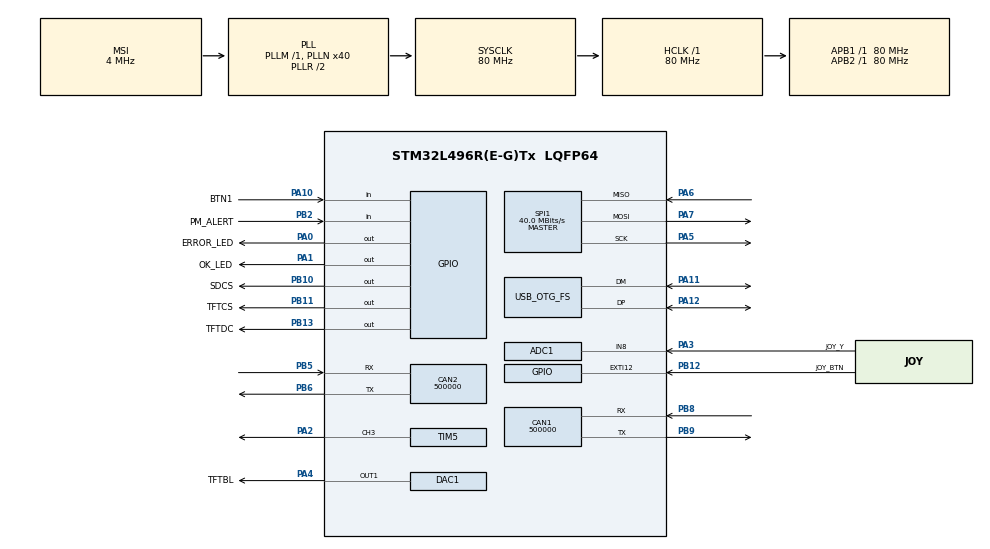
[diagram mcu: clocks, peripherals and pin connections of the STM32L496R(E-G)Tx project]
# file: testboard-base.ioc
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ADC1.Channel-0\#ChannelRegularConversion=ADC_CHANNEL_8
ADC1.ContinuousConvMode=DISABLE
ADC1.EOCSelection=ADC_EOC_SEQ_CONV
ADC1.ExternalTrigConv=ADC_SOFTWARE_START
ADC1.NbrOfConversionFlag=1
ADC1.OffsetNumber-0\#ChannelRegularConversion=ADC_OFFSET_NONE
ADC1.Rank-0\#ChannelRegularConversion=1
ADC1.Resolution=ADC_RESOLUTION_8B
ADC1.SamplingTime-0\#ChannelRegularConversion=ADC_SAMPLETIME_2CYCLES_5
ADC1.master=1
CAN1.BS1=CAN_BS1_8TQ
CAN1.BS2=CAN_BS2_1TQ
CAN1.CalculateBaudRate=500000
CAN1.CalculateTimeBit=2000
CAN1.CalculateTimeQuantum=200.0
CAN2.BS1=CAN_BS1_8TQ
CAN2.BS2=CAN_BS2_1TQ
CAN2.CalculateBaudRate=500000
CAN2.CalculateTimeBit=2000
CAN2.CalculateTimeQuantum=200.0
Dma.Request0=SPI1_TX
Dma.SPI1_TX.0.Direction=DMA_MEMORY_TO_PERIPH
Dma.SPI1_TX.0.Instance=DMA1_Channel3
Dma.SPI1_TX.0.MemDataAlignment=DMA_MDATAALIGN_BYTE
Dma.SPI1_TX.0.MemInc=DMA_MINC_DISABLE
Dma.SPI1_TX.0.Mode=DMA_NORMAL
Dma.SPI1_TX.0.PeriphDataAlignment=DMA_PDATAALIGN_BYTE
Dma.SPI1_TX.0.PeriphInc=DMA_PINC_DISABLE
Dma.SPI1_TX.0.Priority=DMA_PRIORITY_LOW
FREERTOS.Tasks01=defaultTask,24,128,StartDefaultTask,Default,NULL,Dynamic,NULL,NULL
FREERTOS.configTIMER_TASK_PRIORITY=32
Mcu.Family=STM32L4
Mcu.Name=STM32L496R(E-G)Tx
Mcu.Package=LQFP64
NVIC.DMA1_Channel3_IRQn=true\:5\:0\:false\:false\:true\:true\:false\:true\:true
NVIC.EXTI15_10_IRQn=true\:5\:0\:false\:false\:true\:true\:true\:true\:true
NVIC.PriorityGroup=NVIC_PRIORITYGROUP_4
NVIC.TIM1_TRG_COM_TIM17_IRQn=true\:15\:0\:false\:false\:true\:false\:false\:true\:true
NVIC.TIM4_IRQn=true\:5\:0\:false\:false\:true\:true\:true\:true\:true
NVIC.TIM6_DAC_IRQn=true\:5\:0\:false\:false\:true\:true\:true\:true\:true
NVIC.TimeBase=TIM1_TRG_COM_TIM17_IRQn
NVIC.TimeBaseIP=TIM17
PA0.GPIO_Label=ERROR_LED
PA0.Signal=GPIO_Output
PA1.GPIO_Label=OK_LED
PA1.Signal=GPIO_Output
PA10.GPIO_Label=BTN1
PA10.Signal=GPIO_Input
PA11.Mode=Device_Only
PA11.Signal=USB_OTG_FS_DM
PA12.Mode=Device_Only
PA12.Signal=USB_OTG_FS_DP
PA13\ (JTMS/SWDIO).Mode=Trace_Asynchronous_SW
PA13\ (JTMS/SWDIO).Signal=SYS_JTMS-SWDIO
PA14\ (JTCK/SWCLK).Mode=Trace_Asynchronous_SW
PA14\ (JTCK/SWCLK).Signal=SYS_JTCK-SWCLK
PA2.Signal=S_TIM5_CH3
PA3.GPIO_Label=JOY_Y
PA3.Signal=ADCx_IN8
PA4.GPIO_Label=TFTBL
PA4.Signal=COMP_DAC11_group
PA5.Mode=Full_Duplex_Master
PA5.Signal=SPI1_SCK
PA6.Mode=Full_Duplex_Master
PA6.Signal=SPI1_MISO
PA7.Mode=Full_Duplex_Master
PA7.Signal=SPI1_MOSI
PB10.GPIO_Label=SDCS
PB10.Signal=GPIO_Output
PB11.GPIO_Label=TFTCS
PB11.Signal=GPIO_Output
PB12.GPIO_Label=JOY_BTN
PB12.GPIO_ModeDefaultEXTI=GPIO_MODE_IT_FALLING
PB12.GPIO_PuPd=GPIO_PULLUP
PB12.Signal=GPXTI12
PB13.GPIO_Label=TFTDC
PB13.Signal=GPIO_Output
PB2.GPIO_Label=PM_ALERT
PB2.Signal=GPIO_Input
PB3\ (JTDO/TRACESWO).Mode=Trace_Asynchronous_SW
PB3\ (JTDO/TRACESWO).Signal=SYS_JTDO-SWO
PB5.Mode=CAN_Activate
PB5.Signal=CAN2_RX
PB6.Mode=CAN_Activate
PB6.Signal=CAN2_TX
PB8.Mode=CAN_Activate
PB8.Signal=CAN1_RX
PB9.Mode=CAN_Activate
PB9.Signal=CAN1_TX
PH0-OSC_IN\ (PH0).Mode=HSE-External-Oscillator
PH0-OSC_IN\ (PH0).Signal=RCC_OSC_IN
PH1-OSC_OUT\ (PH1).Mode=HSE-External-Oscillator
PH1-OSC_OUT\ (PH1).Signal=RCC_OSC_OUT
ProjectManager.HeapSize=0x200
ProjectManager.StackSize=0x400
ProjectManager.TargetToolchain=Makefile
RCC.ADCFreq_Value=48000000
RCC.AHBFreq_Value=80000000
RCC.APB1Freq_Value=80000000
RCC.APB1TimFreq_Value=80000000
RCC.APB2Freq_Value=80000000
RCC.APB2TimFreq_Value=80000000
RCC.CortexFreq_Value=80000000
RCC.HCLKFreq_Value=80000000
RCC.HSE_VALUE=16000000
RCC.HSI48_VALUE=48000000
RCC.HSI_VALUE=16000000
RCC.LSE_VALUE=32768
RCC.MSI_VALUE=4000000
RCC.PLLN=40
RCC.PLLSAI1N=24
RCC.SYSCLKFreq_VALUE=80000000
RCC.SYSCLKSource=RCC_SYSCLKSOURCE_PLLCLK
RCC.USBFreq_Value=48000000
RCC.VCOOutputFreq_Value=160000000
SH.ADCx_IN8.0=ADC1_IN8,IN8-Single-Ended
SH.COMP_DAC11_group.0=DAC1_OUT1,DAC_OUT1
SH.S_TIM5_CH3.0=TIM5_CH3,PWM Generation3 CH3
SPI1.BaudRatePrescaler=SPI_BAUDRATEPRESCALER_2
SPI1.CLKPhase=SPI_PHASE_2EDGE
SPI1.CLKPolarity=SPI_POLARITY_HIGH
SPI1.CalculateBaudRate=40.0 MBits/s
SPI1.DataSize=SPI_DATASIZE_8BIT
SPI1.Direction=SPI_DIRECTION_2LINES
SPI1.FirstBit=SPI_FIRSTBIT_MSB
SPI1.Mode=SPI_MODE_MASTER
SPI1.VirtualType=VM_MASTER
TIM3.Channel-Output\ Compare1\ No\ Output=TIM_CHANNEL_1
TIM3.Period=65535
TIM3.Prescaler=80-1
TIM4.Channel-Output\ Compare1\ No\ Output=TIM_CHANNEL_1
TIM4.Period=50000
TIM4.Prescaler=80-1
TIM4.Pulse-Output\ Compare1\ No\ Output=0
TIM5.Channel-PWM\ Generation3\ CH3=TIM_CHANNEL_3
TIM5.Period=350
TIM6.Period=1000
TIM6.Prescaler=40000-1
USB_OTG_FS.VirtualMode=Device_Only
VP_FATFS_VS_Generic.Mode=User_defined
VP_FREERTOS_VS_CMSIS_V2.Mode=CMSIS_V2
VP_SYS_VS_tim17.Mode=TIM17
VP_TIM3_VS_no_output1.Mode=Output Compare1 No Output
VP_TIM4_VS_no_output1.Mode=Output Compare1 No Output
VP_TIM6_VS_ClockSourceINT.Mode=Enable_Timer
board=custom

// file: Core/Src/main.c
/* USER CODE BEGIN Header */
/**
  ******************************************************************************
  * @file           : main.c
  * @brief          : Main program body
  ******************************************************************************
  * @attention
  *
  * Copyright (c) 2023 STMicroelectronics.
  * All rights reserved.
  *
  * This software is licensed under terms that can be found in the LICENSE file
  * in the root directory of this software component.
  * If no LICENSE file comes with this software, it is provided AS-IS.
  *
  *
  * User Modifications:
  *   - CPP_UserSetup() is called from main()
  *   - Defines for FATFS devices in main.h
  *   - Initialize ADC2 in MX_ADC1_Init()
  *   - Call debounce function from timer interrupt
  *
  *
  ******************************************************************************
  */
/* USER CODE END Header */
#include "main.h"
#include "cmsis_os.h"
#include "fatfs.h"

/* USER CODE BEGIN PM */
extern uint16_t Timer1, Timer2;
/* USER CODE END PM */

ADC_HandleTypeDef hadc1;

CAN_HandleTypeDef hcan1;
CAN_HandleTypeDef hcan2;

DAC_HandleTypeDef hdac1;

SPI_HandleTypeDef hspi1;
DMA_HandleTypeDef hdma_spi1_tx;

TIM_HandleTypeDef htim3;
TIM_HandleTypeDef htim4;
TIM_HandleTypeDef htim5;
TIM_HandleTypeDef htim6;

PCD_HandleTypeDef hpcd_USB_OTG_FS;

/* Definitions for defaultTask */
osThreadId_t defaultTaskHandle;
const osThreadAttr_t defaultTask_attributes = {
  .name = "defaultTask",
  .stack_size = 128 * 4,
  .priority = (osPriority_t) osPriorityNormal,
};
/* USER CODE BEGIN PV */
ADC_HandleTypeDef hadc2;
uint32_t utick = 0;
/* USER CODE END PV */

void SystemClock_Config(void);
void PeriphCommonClock_Config(void);
static void MX_GPIO_Init(void);
static void MX_DMA_Init(void);
static void MX_CAN1_Init(void);
static void MX_CAN2_Init(void);
static void MX_SPI1_Init(void);
static void MX_USB_OTG_FS_PCD_Init(void);
static void MX_TIM3_Init(void);
static void MX_ADC1_Init(void);
static void MX_DAC1_Init(void);
static void MX_TIM5_Init(void);
static void MX_TIM4_Init(void);
static void MX_TIM6_Init(void);
void StartDefaultTask(void *argument);

/* USER CODE BEGIN PFP */
void CPP_UserSetup(void);
void DebounceCallback(void);
/* USER CODE END PFP */

int main(void)
{

  /* MCU Configuration--------------------------------------------------------*/

  /* Reset of all peripherals, Initializes the Flash interface and the Systick. */
  HAL_Init();

  /* Configure the system clock */
  SystemClock_Config();

/* Configure the peripherals common clocks */
  PeriphCommonClock_Config();

  /* USER CODE BEGIN SysInit */

  // Set timebase interrupt to a high priority to enable HAL_Delay() during initialization
  HAL_NVIC_SetPriority(TIM1_TRG_COM_TIM17_IRQn, 1U, 0U);
  __enable_irq();
  __set_BASEPRI(6);

  /* USER CODE END SysInit */

  /* Initialize all configured peripherals */
  MX_GPIO_Init();
  MX_DMA_Init();
  MX_CAN1_Init();
  MX_CAN2_Init();
  MX_SPI1_Init();
  MX_USB_OTG_FS_PCD_Init();
  MX_TIM3_Init();
  MX_ADC1_Init();
  MX_DAC1_Init();
  MX_TIM5_Init();
  MX_TIM4_Init();
  MX_FATFS_Init();
  MX_TIM6_Init();
  /* USER CODE BEGIN 2 */
  CPP_UserSetup();

  // Change timebase priority back to normal
  HAL_NVIC_SetPriority(TIM1_TRG_COM_TIM17_IRQn, 15U, 0U);
  /* USER CODE END 2 */

  /* Init scheduler */
  osKernelInitialize();

  /* Create the thread(s) */
  /* creation of defaultTask */
  defaultTaskHandle = osThreadNew(StartDefaultTask, NULL, &defaultTask_attributes);

  /* Start scheduler */
  osKernelStart();

  /* We should never get here as control is now taken by the scheduler */
  /* Infinite loop */
  while (1)
  {

  }
}

void SystemClock_Config(void)
{
  RCC_OscInitTypeDef RCC_OscInitStruct = {0};
  RCC_ClkInitTypeDef RCC_ClkInitStruct = {0};

  /** Configure the main internal regulator output voltage
  */
  if (HAL_PWREx_ControlVoltageScaling(PWR_REGULATOR_VOLTAGE_SCALE1) != HAL_OK)
  {
    Error_Handler();
  }

  /** Initializes the RCC Oscillators according to the specified parameters
  * in the RCC_OscInitTypeDef structure.
  */
  RCC_OscInitStruct.OscillatorType = RCC_OSCILLATORTYPE_LSE|RCC_OSCILLATORTYPE_MSI;
  RCC_OscInitStruct.LSEState = RCC_LSE_OFF;
  RCC_OscInitStruct.MSIState = RCC_MSI_ON;
  RCC_OscInitStruct.MSICalibrationValue = 0;
  RCC_OscInitStruct.MSIClockRange = RCC_MSIRANGE_6;
  RCC_OscInitStruct.PLL.PLLState = RCC_PLL_ON;
  RCC_OscInitStruct.PLL.PLLSource = RCC_PLLSOURCE_MSI;
  RCC_OscInitStruct.PLL.PLLM = 1;
  RCC_OscInitStruct.PLL.PLLN = 40;
  RCC_OscInitStruct.PLL.PLLP = RCC_PLLP_DIV2;
  RCC_OscInitStruct.PLL.PLLQ = RCC_PLLQ_DIV2;
  RCC_OscInitStruct.PLL.PLLR = RCC_PLLR_DIV2;
  if (HAL_RCC_OscConfig(&RCC_OscInitStruct) != HAL_OK)
  {
    Error_Handler();
  }

  /** Initializes the CPU, AHB and APB buses clocks
  */
  RCC_ClkInitStruct.ClockType = RCC_CLOCKTYPE_HCLK|RCC_CLOCKTYPE_SYSCLK
                              |RCC_CLOCKTYPE_PCLK1|RCC_CLOCKTYPE_PCLK2;
  RCC_ClkInitStruct.SYSCLKSource = RCC_SYSCLKSOURCE_PLLCLK;
  RCC_ClkInitStruct.AHBCLKDivider = RCC_SYSCLK_DIV1;
  RCC_ClkInitStruct.APB1CLKDivider = RCC_HCLK_DIV1;
  RCC_ClkInitStruct.APB2CLKDivider = RCC_HCLK_DIV1;

  if (HAL_RCC_ClockConfig(&RCC_ClkInitStruct, FLASH_LATENCY_4) != HAL_OK)
  {
    Error_Handler();
  }

  /** Enable MSI Auto calibration
  */
  HAL_RCCEx_EnableMSIPLLMode();
}

void PeriphCommonClock_Config(void)
{
  RCC_PeriphCLKInitTypeDef PeriphClkInit = {0};

  /** Initializes the peripherals clock
  */
  PeriphClkInit.PeriphClockSelection = RCC_PERIPHCLK_USB|RCC_PERIPHCLK_ADC;
  PeriphClkInit.AdcClockSelection = RCC_ADCCLKSOURCE_PLLSAI1;
  PeriphClkInit.UsbClockSelection = RCC_USBCLKSOURCE_PLLSAI1;
  PeriphClkInit.PLLSAI1.PLLSAI1Source = RCC_PLLSOURCE_MSI;
  PeriphClkInit.PLLSAI1.PLLSAI1M = 1;
  PeriphClkInit.PLLSAI1.PLLSAI1N = 24;
  PeriphClkInit.PLLSAI1.PLLSAI1P = RCC_PLLP_DIV2;
  PeriphClkInit.PLLSAI1.PLLSAI1Q = RCC_PLLQ_DIV2;
  PeriphClkInit.PLLSAI1.PLLSAI1R = RCC_PLLR_DIV2;
  PeriphClkInit.PLLSAI1.PLLSAI1ClockOut = RCC_PLLSAI1_48M2CLK|RCC_PLLSAI1_ADC1CLK;
  if (HAL_RCCEx_PeriphCLKConfig(&PeriphClkInit) != HAL_OK)
  {
    Error_Handler();
  }
}

static void MX_ADC1_Init(void)
{

  ADC_MultiModeTypeDef multimode = {0};
  ADC_ChannelConfTypeDef sConfig = {0};

  /** Common config
  */
  hadc1.Instance = ADC1;
  hadc1.Init.ClockPrescaler = ADC_CLOCK_ASYNC_DIV1;
  hadc1.Init.Resolution = ADC_RESOLUTION_8B;
  hadc1.Init.DataAlign = ADC_DATAALIGN_RIGHT;
  hadc1.Init.ScanConvMode = ADC_SCAN_DISABLE;
  hadc1.Init.EOCSelection = ADC_EOC_SEQ_CONV;
  hadc1.Init.LowPowerAutoWait = DISABLE;
  hadc1.Init.ContinuousConvMode = DISABLE;
  hadc1.Init.NbrOfConversion = 1;
  hadc1.Init.DiscontinuousConvMode = DISABLE;
  hadc1.Init.ExternalTrigConv = ADC_SOFTWARE_START;
  hadc1.Init.ExternalTrigConvEdge = ADC_EXTERNALTRIGCONVEDGE_NONE;
  hadc1.Init.DMAContinuousRequests = DISABLE;
  hadc1.Init.Overrun = ADC_OVR_DATA_PRESERVED;
  hadc1.Init.OversamplingMode = DISABLE;
  if (HAL_ADC_Init(&hadc1) != HAL_OK)
  {
    Error_Handler();
  }

  /** Configure the ADC multi-mode
  */
  multimode.Mode = ADC_MODE_INDEPENDENT;
  if (HAL_ADCEx_MultiModeConfigChannel(&hadc1, &multimode) != HAL_OK)
  {
    Error_Handler();
  }

  /** Configure Regular Channel
  */
  sConfig.Channel = ADC_CHANNEL_8;
  sConfig.Rank = ADC_REGULAR_RANK_1;
  sConfig.SamplingTime = ADC_SAMPLETIME_2CYCLES_5;
  sConfig.SingleDiff = ADC_SINGLE_ENDED;
  sConfig.OffsetNumber = ADC_OFFSET_NONE;
  sConfig.Offset = 0;
  if (HAL_ADC_ConfigChannel(&hadc1, &sConfig) != HAL_OK)
  {
    Error_Handler();
  }
  /* USER CODE BEGIN ADC1_Init 2 */
  // Enable second ADC
  hadc2.Instance = ADC2;
  hadc2.Init.ClockPrescaler = ADC_CLOCK_ASYNC_DIV1;
  hadc2.Init.Resolution = ADC_RESOLUTION_8B;
  hadc2.Init.DataAlign = ADC_DATAALIGN_RIGHT;
  hadc2.Init.ScanConvMode = ADC_SCAN_DISABLE;
  hadc2.Init.EOCSelection = ADC_EOC_SINGLE_CONV;
  hadc2.Init.LowPowerAutoWait = DISABLE;
  hadc2.Init.ContinuousConvMode = DISABLE;
  hadc2.Init.NbrOfConversion = 1;
  hadc2.Init.DiscontinuousConvMode = DISABLE;
  hadc2.Init.ExternalTrigConv = ADC_SOFTWARE_START;
  hadc2.Init.ExternalTrigConvEdge = ADC_EXTERNALTRIGCONVEDGE_NONE;
  hadc2.Init.DMAContinuousRequests = DISABLE;
  hadc2.Init.Overrun = ADC_OVR_DATA_PRESERVED;
  hadc2.Init.OversamplingMode = DISABLE;
  if (HAL_ADC_Init(&hadc2) != HAL_OK)
  {
    Error_Handler();
  }

  /** Configure Regular Channel
  */
  sConfig.Channel = ADC_CHANNEL_7;
  sConfig.Rank = ADC_REGULAR_RANK_1;
  sConfig.SamplingTime = ADC_SAMPLETIME_2CYCLES_5;
  sConfig.SingleDiff = ADC_SINGLE_ENDED;
  sConfig.OffsetNumber = ADC_OFFSET_NONE;
  sConfig.Offset = 0;
  if (HAL_ADC_ConfigChannel(&hadc2, &sConfig) != HAL_OK)
  {
    Error_Handler();
  }
  /* USER CODE END ADC1_Init 2 */

}

static void MX_CAN1_Init(void)
{

  hcan1.Instance = CAN1;
  hcan1.Init.Prescaler = 16;
  hcan1.Init.Mode = CAN_MODE_NORMAL;
  hcan1.Init.SyncJumpWidth = CAN_SJW_1TQ;
  hcan1.Init.TimeSeg1 = CAN_BS1_8TQ;
  hcan1.Init.TimeSeg2 = CAN_BS2_1TQ;
  hcan1.Init.TimeTriggeredMode = DISABLE;
  hcan1.Init.AutoBusOff = DISABLE;
  hcan1.Init.AutoWakeUp = DISABLE;
  hcan1.Init.AutoRetransmission = DISABLE;
  hcan1.Init.ReceiveFifoLocked = DISABLE;
  hcan1.Init.TransmitFifoPriority = DISABLE;
  if (HAL_CAN_Init(&hcan1) != HAL_OK)
  {
    Error_Handler();
  }

}

static void MX_CAN2_Init(void)
{

  hcan2.Instance = CAN2;
  hcan2.Init.Prescaler = 16;
  hcan2.Init.Mode = CAN_MODE_NORMAL;
  hcan2.Init.SyncJumpWidth = CAN_SJW_1TQ;
  hcan2.Init.TimeSeg1 = CAN_BS1_8TQ;
  hcan2.Init.TimeSeg2 = CAN_BS2_1TQ;
  hcan2.Init.TimeTriggeredMode = DISABLE;
  hcan2.Init.AutoBusOff = DISABLE;
  hcan2.Init.AutoWakeUp = DISABLE;
  hcan2.Init.AutoRetransmission = DISABLE;
  hcan2.Init.ReceiveFifoLocked = DISABLE;
  hcan2.Init.TransmitFifoPriority = DISABLE;
  if (HAL_CAN_Init(&hcan2) != HAL_OK)
  {
    Error_Handler();
  }

}

static void MX_DAC1_Init(void)
{

  DAC_ChannelConfTypeDef sConfig = {0};

  /** DAC Initialization
  */
  hdac1.Instance = DAC1;
  if (HAL_DAC_Init(&hdac1) != HAL_OK)
  {
    Error_Handler();
  }

  /** DAC channel OUT1 config
  */
  sConfig.DAC_SampleAndHold = DAC_SAMPLEANDHOLD_DISABLE;
  sConfig.DAC_Trigger = DAC_TRIGGER_NONE;
  sConfig.DAC_OutputBuffer = DAC_OUTPUTBUFFER_ENABLE;
  sConfig.DAC_ConnectOnChipPeripheral = DAC_CHIPCONNECT_DISABLE;
  sConfig.DAC_UserTrimming = DAC_TRIMMING_FACTORY;
  if (HAL_DAC_ConfigChannel(&hdac1, &sConfig, DAC_CHANNEL_1) != HAL_OK)
  {
    Error_Handler();
  }

}

static void MX_SPI1_Init(void)
{

  /* SPI1 parameter configuration*/
  hspi1.Instance = SPI1;
  hspi1.Init.Mode = SPI_MODE_MASTER;
  hspi1.Init.Direction = SPI_DIRECTION_2LINES;
  hspi1.Init.DataSize = SPI_DATASIZE_8BIT;
  hspi1.Init.CLKPolarity = SPI_POLARITY_HIGH;
  hspi1.Init.CLKPhase = SPI_PHASE_2EDGE;
  hspi1.Init.NSS = SPI_NSS_SOFT;
  hspi1.Init.BaudRatePrescaler = SPI_BAUDRATEPRESCALER_2;
  hspi1.Init.FirstBit = SPI_FIRSTBIT_MSB;
  hspi1.Init.TIMode = SPI_TIMODE_DISABLE;
  hspi1.Init.CRCCalculation = SPI_CRCCALCULATION_DISABLE;
  hspi1.Init.CRCPolynomial = 7;
  hspi1.Init.CRCLength = SPI_CRC_LENGTH_DATASIZE;
  hspi1.Init.NSSPMode = SPI_NSS_PULSE_DISABLE;
  if (HAL_SPI_Init(&hspi1) != HAL_OK)
  {
    Error_Handler();
  }
  /* USER CODE BEGIN SPI1_Init 2 */
  __HAL_LINKDMA(&hspi1, hdmatx, hdma_spi1_tx);
  /* USER CODE END SPI1_Init 2 */

}

static void MX_TIM3_Init(void)
{

  TIM_MasterConfigTypeDef sMasterConfig = {0};
  TIM_OC_InitTypeDef sConfigOC = {0};

  htim3.Instance = TIM3;
  htim3.Init.Prescaler = 80-1;
  htim3.Init.CounterMode = TIM_COUNTERMODE_UP;
  htim3.Init.Period = 65535;
  htim3.Init.ClockDivision = TIM_CLOCKDIVISION_DIV1;
  htim3.Init.AutoReloadPreload = TIM_AUTORELOAD_PRELOAD_DISABLE;
  if (HAL_TIM_OC_Init(&htim3) != HAL_OK)
  {
    Error_Handler();
  }
  sMasterConfig.MasterOutputTrigger = TIM_TRGO_RESET;
  sMasterConfig.MasterSlaveMode = TIM_MASTERSLAVEMODE_DISABLE;
  if (HAL_TIMEx_MasterConfigSynchronization(&htim3, &sMasterConfig) != HAL_OK)
  {
    Error_Handler();
  }
  sConfigOC.OCMode = TIM_OCMODE_TIMING;
  sConfigOC.Pulse = 0;
  sConfigOC.OCPolarity = TIM_OCPOLARITY_HIGH;
  sConfigOC.OCFastMode = TIM_OCFAST_DISABLE;
  if (HAL_TIM_OC_ConfigChannel(&htim3, &sConfigOC, TIM_CHANNEL_1) != HAL_OK)
  {
    Error_Handler();
  }

}

static void MX_TIM4_Init(void)
{

  TIM_MasterConfigTypeDef sMasterConfig = {0};
  TIM_OC_InitTypeDef sConfigOC = {0};

  htim4.Instance = TIM4;
  htim4.Init.Prescaler = 80-1;
  htim4.Init.CounterMode = TIM_COUNTERMODE_UP;
  htim4.Init.Period = 50000;
  htim4.Init.ClockDivision = TIM_CLOCKDIVISION_DIV1;
  htim4.Init.AutoReloadPreload = TIM_AUTORELOAD_PRELOAD_DISABLE;
  if (HAL_TIM_OC_Init(&htim4) != HAL_OK)
  {
    Error_Handler();
  }
  sMasterConfig.MasterOutputTrigger = TIM_TRGO_RESET;
  sMasterConfig.MasterSlaveMode = TIM_MASTERSLAVEMODE_DISABLE;
  if (HAL_TIMEx_MasterConfigSynchronization(&htim4, &sMasterConfig) != HAL_OK)
  {
    Error_Handler();
  }
  sConfigOC.OCMode = TIM_OCMODE_TIMING;
  sConfigOC.Pulse = 0;
  sConfigOC.OCPolarity = TIM_OCPOLARITY_HIGH;
  sConfigOC.OCFastMode = TIM_OCFAST_DISABLE;
  if (HAL_TIM_OC_ConfigChannel(&htim4, &sConfigOC, TIM_CHANNEL_1) != HAL_OK)
  {
    Error_Handler();
  }

}

static void MX_TIM5_Init(void)
{

  TIM_MasterConfigTypeDef sMasterConfig = {0};
  TIM_OC_InitTypeDef sConfigOC = {0};

  htim5.Instance = TIM5;
  htim5.Init.Prescaler = 0;
  htim5.Init.CounterMode = TIM_COUNTERMODE_UP;
  htim5.Init.Period = 350;
  htim5.Init.ClockDivision = TIM_CLOCKDIVISION_DIV1;
  htim5.Init.AutoReloadPreload = TIM_AUTORELOAD_PRELOAD_DISABLE;
  if (HAL_TIM_PWM_Init(&htim5) != HAL_OK)
  {
    Error_Handler();
  }
  sMasterConfig.MasterOutputTrigger = TIM_TRGO_RESET;
  sMasterConfig.MasterSlaveMode = TIM_MASTERSLAVEMODE_DISABLE;
  if (HAL_TIMEx_MasterConfigSynchronization(&htim5, &sMasterConfig) != HAL_OK)
  {
    Error_Handler();
  }
  sConfigOC.OCMode = TIM_OCMODE_PWM1;
  sConfigOC.Pulse = 0;
  sConfigOC.OCPolarity = TIM_OCPOLARITY_HIGH;
  sConfigOC.OCFastMode = TIM_OCFAST_DISABLE;
  if (HAL_TIM_PWM_ConfigChannel(&htim5, &sConfigOC, TIM_CHANNEL_3) != HAL_OK)
  {
    Error_Handler();
  }
  HAL_TIM_MspPostInit(&htim5);

}

static void MX_TIM6_Init(void)
{

  TIM_MasterConfigTypeDef sMasterConfig = {0};

  htim6.Instance = TIM6;
  htim6.Init.Prescaler = 40000-1;
  htim6.Init.CounterMode = TIM_COUNTERMODE_UP;
  htim6.Init.Period = 1000;
  htim6.Init.AutoReloadPreload = TIM_AUTORELOAD_PRELOAD_DISABLE;
  if (HAL_TIM_Base_Init(&htim6) != HAL_OK)
  {
    Error_Handler();
  }
  sMasterConfig.MasterOutputTrigger = TIM_TRGO_RESET;
  sMasterConfig.MasterSlaveMode = TIM_MASTERSLAVEMODE_DISABLE;
  if (HAL_TIMEx_MasterConfigSynchronization(&htim6, &sMasterConfig) != HAL_OK)
  {
    Error_Handler();
  }

}

static void MX_USB_OTG_FS_PCD_Init(void)
{

  hpcd_USB_OTG_FS.Instance = USB_OTG_FS;
  hpcd_USB_OTG_FS.Init.dev_endpoints = 6;
  hpcd_USB_OTG_FS.Init.speed = PCD_SPEED_FULL;
  hpcd_USB_OTG_FS.Init.phy_itface = PCD_PHY_EMBEDDED;
  hpcd_USB_OTG_FS.Init.Sof_enable = DISABLE;
  hpcd_USB_OTG_FS.Init.low_power_enable = DISABLE;
  hpcd_USB_OTG_FS.Init.lpm_enable = DISABLE;
  hpcd_USB_OTG_FS.Init.battery_charging_enable = DISABLE;
  hpcd_USB_OTG_FS.Init.use_dedicated_ep1 = DISABLE;
  hpcd_USB_OTG_FS.Init.vbus_sensing_enable = DISABLE;
  if (HAL_PCD_Init(&hpcd_USB_OTG_FS) != HAL_OK)
  {
    Error_Handler();
  }

}

static void MX_DMA_Init(void)
{

  /* DMA controller clock enable */
  __HAL_RCC_DMA1_CLK_ENABLE();

  /* DMA interrupt init */
  /* DMA1_Channel3_IRQn interrupt configuration */
  HAL_NVIC_SetPriority(DMA1_Channel3_IRQn, 5, 0);
  HAL_NVIC_EnableIRQ(DMA1_Channel3_IRQn);

}

static void MX_GPIO_Init(void)
{
  GPIO_InitTypeDef GPIO_InitStruct = {0};

  /* GPIO Ports Clock Enable */
  __HAL_RCC_GPIOH_CLK_ENABLE();
  __HAL_RCC_GPIOA_CLK_ENABLE();
  __HAL_RCC_GPIOB_CLK_ENABLE();

  /*Configure GPIO pin Output Level */
  HAL_GPIO_WritePin(GPIOA, ERROR_LED_Pin|OK_LED_Pin, GPIO_PIN_RESET);

  /*Configure GPIO pin Output Level */
  HAL_GPIO_WritePin(GPIOB, SDCS_Pin|TFTCS_Pin|TFTDC_Pin, GPIO_PIN_RESET);

  /*Configure GPIO pins : ERROR_LED_Pin OK_LED_Pin */
  GPIO_InitStruct.Pin = ERROR_LED_Pin|OK_LED_Pin;
  GPIO_InitStruct.Mode = GPIO_MODE_OUTPUT_PP;
  GPIO_InitStruct.Pull = GPIO_NOPULL;
  GPIO_InitStruct.Speed = GPIO_SPEED_FREQ_LOW;
  HAL_GPIO_Init(GPIOA, &GPIO_InitStruct);

  /*Configure GPIO pin : PM_ALERT_Pin */
  GPIO_InitStruct.Pin = PM_ALERT_Pin;
  GPIO_InitStruct.Mode = GPIO_MODE_INPUT;
  GPIO_InitStruct.Pull = GPIO_NOPULL;
  HAL_GPIO_Init(PM_ALERT_GPIO_Port, &GPIO_InitStruct);

  /*Configure GPIO pins : SDCS_Pin TFTCS_Pin TFTDC_Pin */
  GPIO_InitStruct.Pin = SDCS_Pin|TFTCS_Pin|TFTDC_Pin;
  GPIO_InitStruct.Mode = GPIO_MODE_OUTPUT_PP;
  GPIO_InitStruct.Pull = GPIO_NOPULL;
  GPIO_InitStruct.Speed = GPIO_SPEED_FREQ_LOW;
  HAL_GPIO_Init(GPIOB, &GPIO_InitStruct);

  /*Configure GPIO pin : JOY_BTN_Pin */
  GPIO_InitStruct.Pin = JOY_BTN_Pin;
  GPIO_InitStruct.Mode = GPIO_MODE_IT_FALLING;
  GPIO_InitStruct.Pull = GPIO_PULLUP;
  HAL_GPIO_Init(JOY_BTN_GPIO_Port, &GPIO_InitStruct);

  /*Configure GPIO pin : BTN1_Pin */
  GPIO_InitStruct.Pin = BTN1_Pin;
  GPIO_InitStruct.Mode = GPIO_MODE_INPUT;
  GPIO_InitStruct.Pull = GPIO_NOPULL;
  HAL_GPIO_Init(BTN1_GPIO_Port, &GPIO_InitStruct);

  /* EXTI interrupt init*/
  HAL_NVIC_SetPriority(EXTI15_10_IRQn, 5, 0);
  HAL_NVIC_EnableIRQ(EXTI15_10_IRQn);

}

void StartDefaultTask(void *argument)
{
  for(;;)
  {
    osDelay(1);
  }
}

void HAL_TIM_PeriodElapsedCallback(TIM_HandleTypeDef *htim)
{
  /* USER CODE BEGIN Callback 0 */
  if (htim->Instance == TIM4) {   // Debounce timer
    HAL_TIM_Base_Stop_IT(&htim4);
    DebounceCallback();
  }
  /* USER CODE END Callback 0 */
  if (htim->Instance == TIM17) {
    HAL_IncTick();
  }
}

void Error_Handler(void)
{
  /* USER CODE BEGIN Error_Handler_Debug */
  /* User can add his own implementation to report the HAL error return state */
  __disable_irq();
  HAL_GPIO_WritePin(ERROR_LED_GPIO_Port, ERROR_LED_Pin, GPIO_PIN_SET);
  while (1)
  {
  }
  /* USER CODE END Error_Handler_Debug */
}
